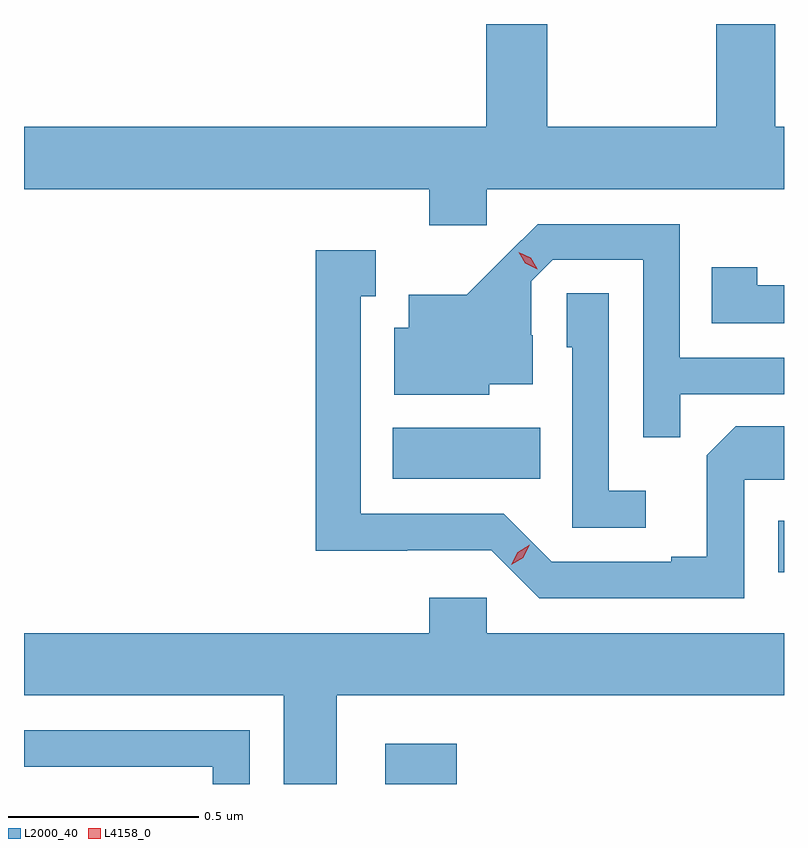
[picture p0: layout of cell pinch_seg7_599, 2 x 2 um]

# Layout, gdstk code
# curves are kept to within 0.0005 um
import gdstk
lib = gdstk.Library(unit=1e-6, precision=1e-09)
def R(c, l, rs):  # rectangles x0, y0, x1, y1
    for r in rs: c.add(gdstk.rectangle(r[:2], r[2:], *l))
def P(c, l, *ps):  # polygons
    for p in ps: c.add(gdstk.Polygon(p, *l))
L2000_40 = (2000, 40)
L4158_0 = (4158, 0)

pinch_seg7_599 = lib.new_cell('pinch_seg7_599')
R(pinch_seg7_599, L2000_40, [(115.593,1050.999,115.781,1051.105), (116.627,1051.556,116.642,1051.692), (115.613,1051.802,116,1051.936)])
P(pinch_seg7_599, L2000_40, [(115.86,1052.564),(116.642,1052.564),(116.642,1052.728),(116.619,1052.728),(116.619,1052.999),(116.464,1052.999),(116.464,1052.728),(116.019,1052.728),(116.019,1052.999),(115.859,1052.999),(115.859,1052.728),(114.642,1052.728),(114.642,1052.564),(115.709,1052.564),(115.709,1052.469),(115.86,1052.469)],
  [(116.369,1052.025),(116.642,1052.025),(116.642,1052.121),(116.367,1052.121),(116.367,1052.472),(115.994,1052.472),(115.807,1052.287),(115.655,1052.287),(115.655,1052.2),(115.616,1052.2),(115.616,1052.024),(115.866,1052.024),(115.866,1052.051),(115.981,1052.051),(115.981,1052.18),(115.977,1052.18),(115.977,1052.322),(116.034,1052.379),(116.271,1052.379),(116.271,1051.912),(116.369,1051.912)],
  [(116.538,1051.8),(116.642,1051.8),(116.642,1051.94),(116.515,1051.94),(116.439,1051.864),(116.439,1051.597),(116.345,1051.597),(116.345,1051.584),(116.031,1051.584),(115.905,1051.71),(115.528,1051.71),(115.528,1052.283),(115.567,1052.283),(115.567,1052.404),(115.41,1052.404),(115.41,1051.613),(115.65,1051.613),(115.65,1051.614),(115.872,1051.614),(115.998,1051.488),(116.538,1051.488)],
  [(116.642,1052.312),(116.571,1052.312),(116.571,1052.359),(116.452,1052.359),(116.452,1052.211),(116.642,1052.211)],
  [(116.278,1051.771),(116.181,1051.771),(116.181,1052.291),(116.07,1052.291),(116.07,1052.148),(116.085,1052.148),(116.085,1051.674),(116.278,1051.674)],
  [(115.465,1051.232),(116.642,1051.232),(116.642,1051.396),(115.86,1051.396),(115.86,1051.489),(115.709,1051.489),(115.709,1051.396),(114.642,1051.396),(114.642,1051.232),(115.325,1051.232),(115.325,1050.999),(115.465,1050.999)],
  [(115.236,1051.14),(114.642,1051.14),(114.642,1051.044),(115.139,1051.044),(115.139,1050.999),(115.236,1050.999)])
P(pinch_seg7_599, L4158_0, [(115.992,1052.354),(115.961,1052.369),(115.944,1052.398),(115.944,1052.398),(115.944,1052.398),(115.975,1052.384),(115.992,1052.355),(115.992,1052.354)],
  [(115.924,1051.576),(115.924,1051.576),(115.941,1051.609),(115.973,1051.628),(115.973,1051.628),(115.973,1051.628),(115.956,1051.595),(115.924,1051.576)])

lib.write_gds('pinch_seg7_599.gds')
